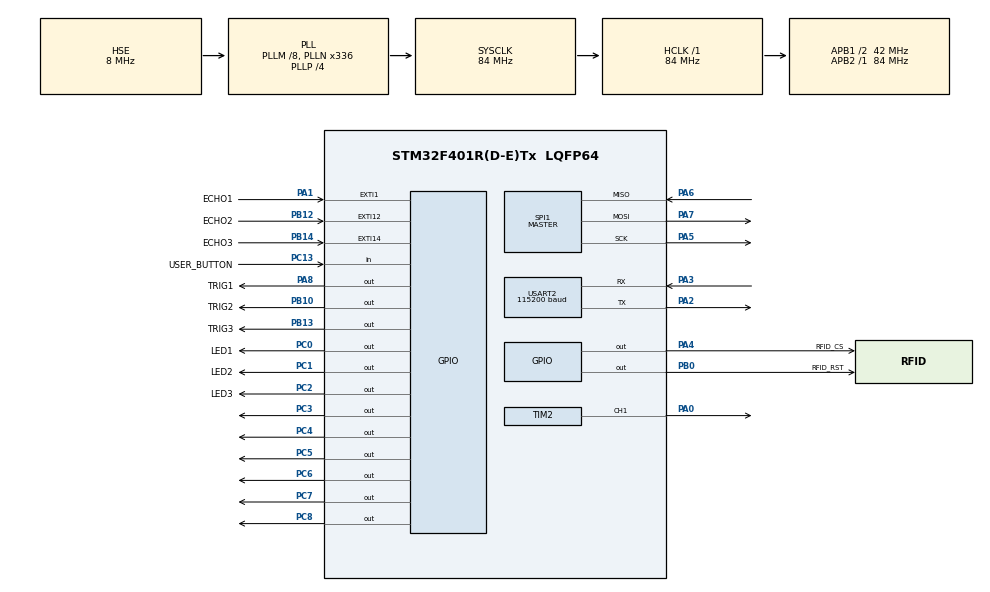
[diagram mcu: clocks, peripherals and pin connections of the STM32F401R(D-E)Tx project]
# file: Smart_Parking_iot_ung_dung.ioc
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Mcu.Family=STM32F4
Mcu.Name=STM32F401R(D-E)Tx
Mcu.Package=LQFP64
NVIC.EXTI15_10_IRQn=true\:0\:0\:false\:false\:true\:true\:true\:true
NVIC.EXTI1_IRQn=true\:0\:0\:false\:false\:true\:true\:true\:true
NVIC.PriorityGroup=NVIC_PRIORITYGROUP_4
NVIC.USART2_IRQn=true\:2\:0\:false\:false\:true\:true\:true\:true
PA0-WKUP.Signal=S_TIM2_CH1_ETR
PA1.GPIO_Label=ECHO1
PA1.GPIO_ModeDefaultEXTI=GPIO_MODE_IT_RISING_FALLING
PA1.Signal=GPXTI1
PA13.Mode=Serial_Wire
PA13.Signal=SYS_JTMS-SWDIO
PA14.Mode=Serial_Wire
PA14.Signal=SYS_JTCK-SWCLK
PA2.GPIO_PuPd=GPIO_PULLUP
PA2.Mode=Asynchronous
PA2.Signal=USART2_TX
PA3.GPIO_PuPd=GPIO_PULLUP
PA3.Mode=Asynchronous
PA3.Signal=USART2_RX
PA4.GPIO_Label=RFID_CS
PA4.PinState=GPIO_PIN_SET
PA4.Signal=GPIO_Output
PA5.Mode=Full_Duplex_Master
PA5.Signal=SPI1_SCK
PA6.Mode=Full_Duplex_Master
PA6.Signal=SPI1_MISO
PA7.Mode=Full_Duplex_Master
PA7.Signal=SPI1_MOSI
PA8.GPIO_Label=TRIG1
PA8.Signal=GPIO_Output
PB0.GPIO_Label=RFID_RST
PB0.PinState=GPIO_PIN_SET
PB0.Signal=GPIO_Output
PB10.GPIO_Label=TRIG2
PB10.Signal=GPIO_Output
PB12.GPIO_Label=ECHO2
PB12.GPIO_ModeDefaultEXTI=GPIO_MODE_IT_RISING_FALLING
PB12.Signal=GPXTI12
PB13.GPIO_Label=TRIG3
PB13.Signal=GPIO_Output
PB14.GPIO_Label=ECHO3
PB14.GPIO_ModeDefaultEXTI=GPIO_MODE_IT_RISING_FALLING
PB14.Signal=GPXTI14
PC0.GPIO_Label=LED1
PC0.Signal=GPIO_Output
PC1.GPIO_Label=LED2
PC1.Signal=GPIO_Output
PC13-ANTI_TAMP.GPIO_Label=USER_BUTTON
PC13-ANTI_TAMP.GPIO_PuPd=GPIO_PULLUP
PC13-ANTI_TAMP.Signal=GPIO_Input
PC2.GPIO_Label=LED3
PC2.Signal=GPIO_Output
PC3.PinState=GPIO_PIN_RESET
PC3.Signal=GPIO_Output
PC4.PinState=GPIO_PIN_RESET
PC4.Signal=GPIO_Output
PC5.PinState=GPIO_PIN_RESET
PC5.Signal=GPIO_Output
PC6.Signal=GPIO_Output
PC7.Signal=GPIO_Output
PC8.Signal=GPIO_Output
PH0\ -\ OSC_IN.Mode=HSE-External-Clock-Source
PH0\ -\ OSC_IN.Signal=RCC_OSC_IN
PH1\ -\ OSC_OUT.Mode=HSE-External-Clock-Source
PH1\ -\ OSC_OUT.Signal=RCC_OSC_OUT
ProjectManager.HeapSize=0x200
ProjectManager.StackSize=0x400
ProjectManager.TargetToolchain=STM32CubeIDE
RCC.48MHZClocksFreq_Value=84000000
RCC.AHBFreq_Value=84000000
RCC.APB1CLKDivider=RCC_HCLK_DIV2
RCC.APB1Freq_Value=42000000
RCC.APB1TimFreq_Value=84000000
RCC.APB2Freq_Value=84000000
RCC.APB2TimFreq_Value=84000000
RCC.CortexFreq_Value=84000000
RCC.HCLKFreq_Value=84000000
RCC.HSE_VALUE=8000000
RCC.HSI_VALUE=16000000
RCC.LSE_VALUE=32768
RCC.PLLM=8
RCC.PLLN=336
RCC.PLLP=RCC_PLLP_DIV4
RCC.PLLSourceVirtual=RCC_PLLSOURCE_HSE
RCC.SYSCLKFreq_VALUE=84000000
RCC.SYSCLKSource=RCC_SYSCLKSOURCE_PLLCLK
RCC.VCOOutputFreq_Value=336000000
SH.S_TIM2_CH1_ETR.0=TIM2_CH1,PWM Generation1 CH1
SPI1.BaudRatePrescaler=SPI_BAUDRATEPRESCALER_32
SPI1.Direction=SPI_DIRECTION_2LINES
SPI1.Mode=SPI_MODE_MASTER
SPI1.VirtualType=VM_MASTER
TIM2.Channel-PWM\ Generation1\ CH1=TIM_CHANNEL_1
TIM2.Period=19999
TIM2.Prescaler=83
TIM2.Pulse-PWM\ Generation1\ CH1=1500
TIM5.Period=4294967295
TIM5.Prescaler=83
USART2.BaudRate=115200
USART2.VirtualMode=VM_ASYNC
VP_TIM2_VS_ClockSourceINT.Mode=Internal
VP_TIM5_VS_ClockSourceINT.Mode=Internal
board=custom

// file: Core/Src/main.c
/* USER CODE BEGIN Header */
/**
  ******************************************************************************
  * @file           : main.c
  * @brief          : Main program body
  ******************************************************************************
  */
/* USER CODE END Header */
#include "main.h"

/* USER CODE BEGIN Includes */
#include "tm_stm32f4_mfrc522.h"
#include <ctype.h>
#include <stdarg.h>
#include <stdio.h>
#include <stdlib.h>
#include <string.h>
/* USER CODE END Includes */

SPI_HandleTypeDef hspi1;

TIM_HandleTypeDef htim2;
TIM_HandleTypeDef htim5;

UART_HandleTypeDef huart2;

void SystemClock_Config(void);
static void MX_GPIO_Init(void);
static void MX_SPI1_Init(void);
static void MX_TIM5_Init(void);
static void MX_TIM2_Init(void);
static void MX_USART2_UART_Init(void);

/* USER CODE BEGIN 0 */
/* Wiring: see main.h. LED1..3 turn on when their slot is occupied.
 * HC-SR04: sequential 65 ms triggers, 30 ms Echo timeout, TIM5 at 1 MHz.
 * Servo: independent TIM2 CH1, 50 Hz, 500 us closed / 1500 us open.
 * Three single LEDs indicate parking-slot occupancy.
 * Console: Hercules, ST-LINK COM, 115200 8N1, add <10 HEX> followed by CR/LF.
 * Added cards live in RAM only. PA9/PA10 remain available for future Wi-Fi.
 */
/* RC522 implementation is kept here because this project has no RC522 .c file.
 * Register definitions and original library attribution are in tm_stm32f4_mfrc522.h.
 * TM_MFRC522_Check() returns the 5-byte card ID (4 UID bytes + BCC) like the TM library.
 */
static uint8_t rfid_io_error;
static uint8_t rfid_ready;

static void RC522_Write(uint8_t address, uint8_t value)
{
    uint8_t tx[2] = {(uint8_t)((address << 1U) & 0x7EU), value};
    uint8_t rx[2];
    if (rfid_io_error) return;
    MFRC522_CS_LOW;
    if (HAL_SPI_TransmitReceive(&hspi1, tx, rx, 2U, 5U) != HAL_OK) rfid_io_error = 1U;
    MFRC522_CS_HIGH;
}

static uint8_t RC522_Read(uint8_t address)
{
    uint8_t tx[2] = {(uint8_t)(((address << 1U) & 0x7EU) | 0x80U), 0U};
    uint8_t rx[2] = {0};
    if (rfid_io_error) return 0U;
    MFRC522_CS_LOW;
    if (HAL_SPI_TransmitReceive(&hspi1, tx, rx, 2U, 5U) != HAL_OK) rfid_io_error = 1U;
    MFRC522_CS_HIGH;
    return rx[1];
}

static void RC522_Mask(uint8_t address, uint8_t mask, uint8_t set)
{
    uint8_t value = RC522_Read(address);
    RC522_Write(address, set ? (uint8_t)(value | mask) : (uint8_t)(value & ~mask));
}

static uint8_t RC522_CRC(const uint8_t *data, uint8_t length, uint8_t crc[2])
{
    RC522_Write(MFRC522_REG_COMMAND, PCD_IDLE);
    RC522_Write(MFRC522_REG_DIV_IRQ, 0x04U);
    RC522_Write(MFRC522_REG_FIFO_LEVEL, 0x80U);
    for (uint8_t i = 0; i < length; ++i) RC522_Write(MFRC522_REG_FIFO_DATA, data[i]);
    RC522_Write(MFRC522_REG_COMMAND, PCD_CALCCRC);
    uint32_t started = HAL_GetTick();
    while (!(RC522_Read(MFRC522_REG_DIV_IRQ) & 0x04U)) {
        if (rfid_io_error || (uint32_t)(HAL_GetTick() - started) >= 5U) {
            RC522_Write(MFRC522_REG_COMMAND, PCD_IDLE);
            return 0U;
        }
    }
    RC522_Write(MFRC522_REG_COMMAND, PCD_IDLE);
    crc[0] = RC522_Read(MFRC522_REG_CRC_RESULT_L);
    crc[1] = RC522_Read(MFRC522_REG_CRC_RESULT_M);
    return !rfid_io_error;
}

static TM_MFRC522_Status_t RC522_Exchange(const uint8_t *tx, uint8_t tx_length,
                                        uint8_t tx_bits, uint8_t *rx,
                                        uint8_t capacity, uint16_t *rx_bits)
{
    *rx_bits = 0U;
    RC522_Write(MFRC522_REG_COMMAND, PCD_IDLE);
    RC522_Write(MFRC522_REG_COMM_IRQ, 0x7FU);
    RC522_Write(MFRC522_REG_FIFO_LEVEL, 0x80U);
    RC522_Write(MFRC522_REG_BIT_FRAMING, tx_bits);
    for (uint8_t i = 0; i < tx_length; ++i) RC522_Write(MFRC522_REG_FIFO_DATA, tx[i]);
    RC522_Write(MFRC522_REG_COMMAND, PCD_TRANSCEIVE);
    RC522_Mask(MFRC522_REG_BIT_FRAMING, 0x80U, 1U);
    uint8_t irq;
    uint32_t started = HAL_GetTick();
    do {
        irq = RC522_Read(MFRC522_REG_COMM_IRQ);
        if (rfid_io_error || (uint32_t)(HAL_GetTick() - started) >= 30U) {
            RC522_Write(MFRC522_REG_COMMAND, PCD_IDLE);
            RC522_Mask(MFRC522_REG_BIT_FRAMING, 0x80U, 0U);
            return MI_ERR;
        }
    } while (!(irq & 0x31U));
    RC522_Mask(MFRC522_REG_BIT_FRAMING, 0x80U, 0U);
    RC522_Write(MFRC522_REG_COMMAND, PCD_IDLE);
    if (irq & 0x01U) return MI_NOTAGERR;
    if (RC522_Read(MFRC522_REG_ERROR) & 0x1BU) return MI_ERR;
    uint8_t count = RC522_Read(MFRC522_REG_FIFO_LEVEL);
    uint8_t last_bits = RC522_Read(MFRC522_REG_CONTROL) & 0x07U;
    /* Reject oversized responses before touching the caller's buffer. */
    if (!count || count > capacity) return MI_ERR;
    *rx_bits = last_bits ? (uint16_t)((count - 1U) * 8U + last_bits) : (uint16_t)(count * 8U);
    for (uint8_t i = 0; i < count; ++i) rx[i] = RC522_Read(MFRC522_REG_FIFO_DATA);
    return rfid_io_error ? MI_ERR : MI_OK;
}

uint8_t TM_MFRC522_Init(void)
{
    rfid_io_error = 0U;
    MFRC522_CS_HIGH;
    HAL_GPIO_WritePin(RFID_RST_GPIO_Port, RFID_RST_Pin, GPIO_PIN_RESET);
    HAL_Delay(2U);
    HAL_GPIO_WritePin(RFID_RST_GPIO_Port, RFID_RST_Pin, GPIO_PIN_SET);
    HAL_Delay(50U);
    RC522_Write(MFRC522_REG_COMMAND, PCD_RESETPHASE);
    HAL_Delay(50U);
    uint32_t started = HAL_GetTick();
    while (RC522_Read(MFRC522_REG_COMMAND) & 0x10U) {
        if (rfid_io_error || (uint32_t)(HAL_GetTick() - started) >= 50U) return 0U;
    }
    uint8_t version = RC522_Read(MFRC522_REG_VERSION);
    if (rfid_io_error || version == 0U || version == 0xFFU) return 0U;
    RC522_Write(MFRC522_REG_T_MODE, 0x80U);
    RC522_Write(MFRC522_REG_T_PRESCALER, 0xA9U);
    RC522_Write(MFRC522_REG_T_RELOAD_H, 0x03U);
    RC522_Write(MFRC522_REG_T_RELOAD_L, 0xE8U); /* 25 ms receive timeout. */
    RC522_Write(MFRC522_REG_TX_MODE, 0U);
    RC522_Write(MFRC522_REG_RX_MODE, 0U);
    RC522_Write(MFRC522_REG_RF_CFG, 0x70U);
    RC522_Write(MFRC522_REG_TX_AUTO, 0x40U);
    RC522_Write(MFRC522_REG_MODE, 0x3DU);
    RC522_Mask(MFRC522_REG_TX_CONTROL, 0x03U, 1U);
    return !rfid_io_error;
}

/* Same flow as the original TM library (lab sheet 3.8):
 * TM_MFRC522_Request(PICC_REQIDL) -> TM_MFRC522_Anticoll() -> TM_MFRC522_Halt().
 * On MI_OK, uid[0..4] holds the 5-byte card ID (4 UID bytes + BCC).
 */
TM_MFRC522_Status_t TM_MFRC522_Check(uint8_t *uid)
{
    uint8_t request = PICC_REQIDL;
    uint8_t response[5] = {0};
    uint16_t bits;
    rfid_io_error = 0U;
    /* Request: card must answer with a 16-bit ATQA. */
    TM_MFRC522_Status_t status = RC522_Exchange(&request, 1U, 7U, response, 2U, &bits);
    if (status == MI_OK && bits != 16U) status = MI_ERR;
    uint8_t card_answered = (status == MI_OK);
    /* Anticoll: read 4 UID bytes + BCC and verify the XOR checksum. */
    if (status == MI_OK) {
        uint8_t anticoll[2] = {PICC_ANTICOLL, 0x20U};
        RC522_Mask(MFRC522_REG_COLL, 0x80U, 0U);
        status = RC522_Exchange(anticoll, 2U, 0U, response, 5U, &bits);
        if (status == MI_OK && (bits != 40U ||
            (uint8_t)(response[0] ^ response[1] ^ response[2] ^ response[3]) != response[4])) {
            status = MI_ERR;
        }
    }
    /* Halt: sent and its result ignored, like the TM library. Skipped when no card
     * answered the Request, to avoid another 25 ms blocking wait on empty polls. */
    if (card_answered) {
        uint8_t halt[4] = {PICC_HALT, 0U, 0U, 0U};
        uint8_t dummy[2];
        if (RC522_CRC(halt, 2U, &halt[2])) (void)RC522_Exchange(halt, 4U, 0U, dummy, sizeof(dummy), &bits);
    }
    if (status == MI_OK) memcpy(uid, response, 5U);
    return status;
}

/* APP_LOGIC_BEGIN */
#define SENSOR_COUNT           3U
#define OCCUPIED_DISTANCE_CM   5U
#define TRIGGER_INTERVAL_MS    65U
#define ECHO_TIMEOUT_US        30000U
#define SENSOR_STALE_MS        600U
#define SERVO_OPEN_MS          4500U
#define SERVO_TEST_MIN_US      1200U
#define SERVO_TEST_CENTER_US   1500U
#define SERVO_TEST_MAX_US      1800U
#define BUTTON_DEBOUNCE_MS     40U
#define DENIED_WAIT_MS         1500U
#define RFID_POLL_MS           100U /* Same as HAL_Delay(100) in the lab sheet loop. */
#define RFID_REMOVE_MISSES     3U   /* Consecutive misses before a card counts as removed. */
#define MAX_CARDS              10U
#define CARD_BYTES             5U
#define RX_BUF_SIZE            60U

typedef struct {
    GPIO_TypeDef *trig_port;
    uint16_t trig_pin;
    GPIO_TypeDef *echo_port;
    uint16_t echo_pin;
    GPIO_TypeDef *led_port;
    uint16_t led_pin;
} SensorPins;

typedef enum { ECHO_IDLE, ECHO_WAIT_RISE, ECHO_WAIT_FALL, ECHO_DONE } EchoState;
typedef struct {
    volatile EchoState state;
    volatile uint32_t triggered_us;
    volatile uint32_t rising_us;
    volatile uint32_t width_us;
    uint32_t updated_ms;
    uint16_t distance_cm;
    uint8_t valid;
    uint8_t occupied;
} Sensor;

typedef enum { DOOR_IDLE, DOOR_CHECK, DOOR_OPEN, DOOR_DENIED } DoorState;
typedef enum { ACCESS_ALLOWED, ACCESS_FULL, ACCESS_INVALID, ACCESS_UNKNOWN } Access;

static const SensorPins sensor_pins[SENSOR_COUNT] = {
    {TRIG1_GPIO_Port, TRIG1_Pin, ECHO1_GPIO_Port, ECHO1_Pin, LED1_GPIO_Port, LED1_Pin},
    {TRIG2_GPIO_Port, TRIG2_Pin, ECHO2_GPIO_Port, ECHO2_Pin, LED2_GPIO_Port, LED2_Pin},
    {TRIG3_GPIO_Port, TRIG3_Pin, ECHO3_GPIO_Port, ECHO3_Pin, LED3_GPIO_Port, LED3_Pin}
};
static const uint8_t default_cards[4][CARD_BYTES] = {
    {0x56, 0x62, 0x2E, 0x02, 0x18},
    {0xF0, 0x94, 0xD8, 0x5C, 0xE0},
    {0x40, 0x27, 0xC4, 0x41, 0xE2},
    {0xA4, 0x73, 0xC4, 0x41, 0x52}
};
static uint8_t allowed_cards[MAX_CARDS][CARD_BYTES];
static uint8_t card_count;
static uint8_t card_present, card_misses, last_card_id[CARD_BYTES];
static Sensor sensors[SENSOR_COUNT]; /* Inspect sensors[] in the debugger. */
static uint8_t next_sensor;
static uint32_t last_trigger_ms, last_rfid_ms, last_log_ms, door_started_ms;
static DoorState door_state;
static Access pending_access;
static char rx_buffer[RX_BUF_SIZE];
static volatile uint16_t rx_index;
static volatile uint8_t command_ready, rx_overflow, command_overflow;
static GPIO_PinState button_raw, button_stable;
static uint32_t button_changed_ms;
static uint8_t button_armed, servo_test_next;
static uint16_t servo_test_pulse_us; /* Current requested pulse, visible in debugger. */

static uint32_t Micros(void)
{
    return __HAL_TIM_GET_COUNTER(&htim5);
}

static void DelayUs(uint32_t us)
{
    uint32_t start = Micros();
    /* Unsigned subtraction handles TIM5's 32-bit wrap. Never reset TIM2/TIM5. */
    while ((uint32_t)(Micros() - start) < us) { }
}

/* USART2 uses the CMSIS registers already present in this project.
 * This keeps the ST-LINK console without adding HAL UART .c/.h files.
 * PA2 TX / PA3 RX, 115200 baud, 8 data bits, no parity, 1 stop bit.
 */
static void Console_Init(void)
{
    GPIO_InitTypeDef gpio = {0};
    __HAL_RCC_GPIOA_CLK_ENABLE();
    __HAL_RCC_USART2_CLK_ENABLE();
    __HAL_RCC_USART2_FORCE_RESET();
    __HAL_RCC_USART2_RELEASE_RESET();
    gpio.Pin = GPIO_PIN_2 | GPIO_PIN_3;
    gpio.Mode = GPIO_MODE_AF_PP;
    gpio.Pull = GPIO_PULLUP;
    gpio.Speed = GPIO_SPEED_FREQ_VERY_HIGH;
    gpio.Alternate = GPIO_AF7_USART2;
    HAL_GPIO_Init(GPIOA, &gpio);
    USART2->CR1 = 0U;
    USART2->CR2 = 0U;
    USART2->CR3 = 0U;
    USART2->BRR = (HAL_RCC_GetPCLK1Freq() + 57600U) / 115200U;
    USART2->CR1 = USART_CR1_UE | USART_CR1_TE | USART_CR1_RE | USART_CR1_RXNEIE;
    HAL_NVIC_SetPriority(USART2_IRQn, 2U, 0U);
    HAL_NVIC_EnableIRQ(USART2_IRQn);
}

static void Console_Send(const char *data, uint16_t length)
{
    uint32_t start = HAL_GetTick();
    for (uint16_t i = 0; i < length; ++i) {
        while (!(USART2->SR & USART_SR_TXE)) {
            if ((uint32_t)(HAL_GetTick() - start) >= 30U) return;
        }
        USART2->DR = (uint8_t)data[i];
    }
}

void Console_IRQHandler(void)
{
    uint32_t status = USART2->SR;
    if (!(status & (USART_SR_RXNE | USART_SR_ORE | USART_SR_FE | USART_SR_NE | USART_SR_PE))) return;
    /* Reading SR then DR clears the received byte and receive error flags. */
    uint8_t byte = (uint8_t)USART2->DR;
    if (status & (USART_SR_ORE | USART_SR_FE | USART_SR_NE | USART_SR_PE)) {
        if (!command_ready) rx_overflow = 1U;
        return;
    }
    if (command_ready) return; /* One command at a time: wait for its reply. */
    if (byte == '\r' || byte == '\n') {
        if (rx_index || rx_overflow) {
            rx_buffer[rx_index] = '\0';
            command_overflow = rx_overflow;
            command_ready = 1U;
        }
    } else if (!rx_overflow) {
        if (rx_index < RX_BUF_SIZE - 1U) rx_buffer[rx_index++] = (char)byte;
        else rx_overflow = 1U;
    }
}

static void Log(const char *format, ...)
{
    char message[192];
    va_list args;
    va_start(args, format);
    int length = vsnprintf(message, sizeof(message), format, args);
    va_end(args);
    if (length > 0) {
        if ((size_t)length >= sizeof(message)) length = sizeof(message) - 1;
        Console_Send(message, (uint16_t)length);
    }
}

static void ServoSet(uint8_t angle)
{
    if (angle > 180U) angle = 180U;
    __HAL_TIM_SET_COMPARE(&htim2, TIM_CHANNEL_1, 500U + (angle * 2000U) / 180U);
}

/* Test with the horn unloaded: SG90 travel limits vary between units. */
static void ServoTestSetPulse(uint16_t pulse_us)
{
    if (pulse_us < SERVO_TEST_MIN_US) pulse_us = SERVO_TEST_MIN_US;
    if (pulse_us > SERVO_TEST_MAX_US) pulse_us = SERVO_TEST_MAX_US;
    servo_test_pulse_us = pulse_us;
    __HAL_TIM_SET_COMPARE(&htim2, TIM_CHANNEL_1, pulse_us);
    Log("SERVO TEST: pulse=%u us, PWM=50 Hz\r\n", (unsigned)pulse_us);
}

static void ServoTestInit(void)
{
    /* NUCLEO-F401RE B1 is active low; a button held at boot must be released. */
    button_raw = HAL_GPIO_ReadPin(USER_BUTTON_GPIO_Port, USER_BUTTON_Pin);
    button_stable = button_raw;
    button_changed_ms = HAL_GetTick();
    button_armed = (button_stable == GPIO_PIN_SET);
    servo_test_next = 0U;
    ServoTestSetPulse(SERVO_TEST_CENTER_US);
    Log("SERVO TEST: bam/tha B1 (USER xanh, PC13): 1200 -> 1500 -> 1800 us.\r\n"
        "RFID chi doc UID trong che do test.\r\n");
}

static void ServoButtonProcess(uint32_t now)
{
    static const uint16_t pulses[] = {
        SERVO_TEST_MIN_US, SERVO_TEST_CENTER_US, SERVO_TEST_MAX_US
    };
    GPIO_PinState raw = HAL_GPIO_ReadPin(USER_BUTTON_GPIO_Port, USER_BUTTON_Pin);
    if (raw != button_raw) {
        button_raw = raw;
        button_changed_ms = now;
    }
    if (raw == button_stable || (uint32_t)(now - button_changed_ms) < BUTTON_DEBOUNCE_MS) return;
    button_stable = raw;
    if (button_stable == GPIO_PIN_SET) {
        button_armed = 1U;
    } else if (button_armed) {
        button_armed = 0U;
        ServoTestSetPulse(pulses[servo_test_next]);
        servo_test_next = (uint8_t)((servo_test_next + 1U) % (sizeof(pulses) / sizeof(pulses[0])));
    }
}

void HAL_GPIO_EXTI_Callback(uint16_t pin)
{
    for (uint8_t i = 0; i < SENSOR_COUNT; ++i) {
        Sensor *sensor = &sensors[i];
        if (pin != sensor_pins[i].echo_pin) continue;
        /* Ignore idle/startup edges before TIM5 has been initialized. */
        if (sensor->state != ECHO_WAIT_RISE && sensor->state != ECHO_WAIT_FALL) return;
        uint32_t now = Micros();
        if ((uint32_t)(now - sensor->triggered_us) >= ECHO_TIMEOUT_US) return;
        GPIO_PinState level = HAL_GPIO_ReadPin(sensor_pins[i].echo_port, pin);
        if (level == GPIO_PIN_SET && sensor->state == ECHO_WAIT_RISE) {
            sensor->rising_us = now;
            sensor->state = ECHO_WAIT_FALL;
        } else if (level == GPIO_PIN_RESET && sensor->state == ECHO_WAIT_FALL) {
            sensor->width_us = (uint32_t)(now - sensor->rising_us);
            sensor->state = ECHO_DONE;
        }
        return;
    }
}

//cấu hình led hiển thị trạng thái của các slot
static void SlotLedUpdate(uint8_t i)
{
    static const uint16_t green_pins[SENSOR_COUNT] = {
        GPIO_PIN_3, GPIO_PIN_4, GPIO_PIN_5
    };

    static const uint16_t yellow_pins[SENSOR_COUNT] = {
        GPIO_PIN_6, GPIO_PIN_7, GPIO_PIN_8
    };

    /* LED1, LED2, LED3 hien tai la den do PC0, PC1, PC2. */
    uint16_t red_pin = sensor_pins[i].led_pin;
    uint16_t on_pin = 0U;

    if (sensors[i].valid) {
        on_pin = sensors[i].occupied
                 ? red_pin
                 : green_pins[i];
    }

    uint16_t all_pins = red_pin
                       | green_pins[i]
                       | yellow_pins[i];

    /* Tat cac mau khong dung truoc khi bat mau moi.
     * Mat tin hieu: tat ca tat. Den vang luon tat.
     */
    HAL_GPIO_WritePin(GPIOC,
                      (uint16_t)(all_pins & ~on_pin),
                      GPIO_PIN_RESET);

    if (on_pin != 0U) {
        HAL_GPIO_WritePin(GPIOC, on_pin, GPIO_PIN_SET);
    }
}

static void SensorsProcess(uint32_t now)
{
    for (uint8_t i = 0; i < SENSOR_COUNT; ++i) {
        Sensor *sensor = &sensors[i];
        uint8_t complete = 0U, timed_out = 0U;
        uint32_t width = 0U;
        uint32_t irq_mask = __get_PRIMASK();
        __disable_irq();
        if (sensor->state == ECHO_DONE) {
            width = sensor->width_us;
            complete = 1U;
            sensor->state = ECHO_IDLE;
        } else if (sensor->state != ECHO_IDLE &&
                   (uint32_t)(Micros() - sensor->triggered_us) >= ECHO_TIMEOUT_US) {
            sensor->state = ECHO_IDLE;
            timed_out = 1U;
        }
        __set_PRIMASK(irq_mask);
        if (complete) {
            /* Bound before multiplication, including malformed/stale edges. */
            uint32_t cm = (width < ECHO_TIMEOUT_US) ? (width * 343U) / 20000U : 0U;
            /* Match the original accepted range (>2 cm, <400 cm). */
            sensor->valid = (cm > 2U && cm < 400U);
            sensor->updated_ms = now;
            if (sensor->valid) {
                sensor->distance_cm = (uint16_t)cm;
                sensor->occupied = (cm <= OCCUPIED_DISTANCE_CM);
            }
        }
        if (timed_out || (uint32_t)(now - sensor->updated_ms) >= SENSOR_STALE_MS) {
            sensor->valid = 0U;
        }
        /* Cap nhat den theo trang thai va do hop le cua cam bien. */
        SlotLedUpdate(i);
    }
    if ((uint32_t)(now - last_trigger_ms) >= TRIGGER_INTERVAL_MS) {
        uint8_t i = next_sensor;
        next_sensor = (next_sensor + 1U) % SENSOR_COUNT;
        last_trigger_ms = now;
        HAL_GPIO_WritePin(sensor_pins[i].trig_port, sensor_pins[i].trig_pin, GPIO_PIN_RESET);
        DelayUs(2U);
        uint32_t irq_mask = __get_PRIMASK();
        __disable_irq();
        __HAL_GPIO_EXTI_CLEAR_IT(sensor_pins[i].echo_pin);
        sensors[i].triggered_us = Micros();
        sensors[i].state = ECHO_WAIT_RISE;
        __set_PRIMASK(irq_mask);
        HAL_GPIO_WritePin(sensor_pins[i].trig_port, sensor_pins[i].trig_pin, GPIO_PIN_SET);
        DelayUs(12U);
        HAL_GPIO_WritePin(sensor_pins[i].trig_port, sensor_pins[i].trig_pin, GPIO_PIN_RESET);
    }
}

static uint8_t CardAllowed(const uint8_t *uid)
{
    for (uint8_t i = 0; i < card_count; ++i) {
        if (memcmp(uid, allowed_cards[i], CARD_BYTES) == 0) return 1U;
    }
    return 0U;
}

static void CommandProcess(void)
{
    if (!command_ready) return;
    char input[RX_BUF_SIZE];
    uint32_t irq_mask = __get_PRIMASK();
    __disable_irq();
    memcpy(input, rx_buffer, sizeof(input));
    uint8_t overflow = command_overflow;
    rx_index = 0U;
    rx_overflow = command_overflow = command_ready = 0U;
    __set_PRIMASK(irq_mask);
    if (overflow) {
        Log("[SYSTEM] ERROR: Lenh qua dai/loi UART. Gui lai ca dong.\r\n");
        return;
    }
    char *command = strtok(input, " \t\r\n");
    if (!command) return;
    for (char *p = command; *p; ++p) *p = (char)tolower((unsigned char)*p);
    char *hex = strtok(NULL, " \t\r\n");
    if (strcmp(command, "add") || !hex || strlen(hex) != CARD_BYTES * 2U ||
        strtok(NULL, " \t\r\n")) {
        Log("[SYSTEM] ERROR: Dung add <10 ky tu HEX>, vi du add A473C44152\r\n");
        return;
    }
    for (uint8_t i = 0; i < CARD_BYTES * 2U; ++i) {
        if (!isxdigit((unsigned char)hex[i])) {
            Log("[SYSTEM] ERROR: Ma the phai du 10 ky tu HEX.\r\n");
            return;
        }
    }
    uint8_t uid[CARD_BYTES];
    for (uint8_t i = 0; i < CARD_BYTES; ++i) {
        char pair[3] = {hex[2U * i], hex[2U * i + 1U], '\0'};
        uid[i] = (uint8_t)strtoul(pair, NULL, 16);
    }
    if (CardAllowed(uid)) Log("[SYSTEM] WARNING: The da ton tai.\r\n");
    else if (card_count >= MAX_CARDS) Log("[SYSTEM] ERROR: Bo nho the da day.\r\n");
    else {
        memcpy(allowed_cards[card_count++], uid, CARD_BYTES);
        Log("[SYSTEM] SUCCESS: Da add the %s (%u/%u), luu trong RAM.\r\n",
            hex, (unsigned)card_count, (unsigned)MAX_CARDS);
    }
}

static void SlotCounts(uint8_t *occupied, uint8_t *free_slots, uint8_t *valid_mask)
{
    *occupied = *free_slots = *valid_mask = 0U;
    for (uint8_t i = 0; i < SENSOR_COUNT; ++i) {
        *occupied += sensors[i].occupied;
        if (sensors[i].valid) {
            *valid_mask |= (uint8_t)(1U << i);
            *free_slots += !sensors[i].occupied;
        }
    }
}

static void DoorProcess(uint32_t now)
{
    switch (door_state) {
    case DOOR_CHECK:
        if (pending_access == ACCESS_ALLOWED) {
            uint8_t occupied, free_slots, valid_mask;
            SlotCounts(&occupied, &free_slots, &valid_mask);
            if (occupied >= SENSOR_COUNT) pending_access = ACCESS_FULL;
            else if (!free_slots) pending_access = ACCESS_UNKNOWN;
        }
        if (pending_access == ACCESS_ALLOWED) {
            ServoSet(90U);
            door_started_ms = now;
            door_state = DOOR_OPEN;
            Log("Ket qua: THE HOP LE. Mo cua 4.5 giay!\r\n");
        } else {
            if (pending_access == ACCESS_FULL) Log("Ket qua: TU CHOI! Bai xe day (%u/%u).\r\n", SENSOR_COUNT, SENSOR_COUNT);
            else if (pending_access == ACCESS_UNKNOWN) Log("Ket qua: TU CHOI! Chua xac nhan duoc cho trong (loi/chua do cam bien).\r\n");
            else Log("Ket qua: THE KHONG HOP LE. Tu choi!\r\n");
            door_started_ms = now;
            door_state = DOOR_DENIED;
        }
        break;
    case DOOR_OPEN:
        if ((uint32_t)(now - door_started_ms) >= SERVO_OPEN_MS) {
            ServoSet(0U);
            door_state = DOOR_IDLE;
            Log("Da dong cua.\r\n");
        }
        break;
    case DOOR_DENIED:
        if ((uint32_t)(now - door_started_ms) >= DENIED_WAIT_MS) door_state = DOOR_IDLE;
        break;
    case DOOR_IDLE:
        break; /* Cards are read in RfidProcess(). */
    }
}

/* Same logic as lab sheet 3.8:
 *   HAL_Delay(100);
 *   if (TM_MFRC522_Check(CardID) == MI_OK) -> "Card found" + 5-byte card ID
 *   else                                   -> "----------"
 * The OLED version redraws every 100 ms; on Hercules each line is printed once per
 * change (card tapped / card removed) so the terminal is not flooded.
 */
static void RfidProcess(uint32_t now)
{
    if (!rfid_ready || (uint32_t)(now - last_rfid_ms) < RFID_POLL_MS) return;
    last_rfid_ms = now;
    uint8_t card_id[MFRC522_MAX_LEN] = {0};
    if (TM_MFRC522_Check(card_id) == MI_OK) {
        card_misses = 0U;
        /* Same card still on the reader: already printed, do nothing. */
        if (card_present && memcmp(card_id, last_card_id, CARD_BYTES) == 0) return;
        card_present = 1U;
        memcpy(last_card_id, card_id, CARD_BYTES);
        Log("Card found! UID: %02X%02X%02X%02X%02X\r\n",
            card_id[0], card_id[1], card_id[2], card_id[3], card_id[4]);
        if (SERVO_TEST_MODE) return; /* Only B1 controls the servo during this test. */
        if (door_state != DOOR_IDLE) {
            Log("He thong dang xu ly, rut the ra va quet lai.\r\n");
            return;
        }
        uint8_t occupied, free_slots, valid_mask;
        SlotCounts(&occupied, &free_slots, &valid_mask);
        if (occupied >= SENSOR_COUNT) pending_access = ACCESS_FULL;
        else if (!CardAllowed(card_id)) pending_access = ACCESS_INVALID;
        else if (!free_slots) pending_access = ACCESS_UNKNOWN;
        else pending_access = ACCESS_ALLOWED;
        door_state = DOOR_CHECK;
    } else if (card_present && ++card_misses >= RFID_REMOVE_MISSES) {
        card_present = 0U;
        Log("----------\r\n");
    }
}

static void Parking_Init(void)
{
    memset(sensors, 0, sizeof(sensors));
    memset(allowed_cards, 0, sizeof(allowed_cards));
    memcpy(allowed_cards, default_cards, sizeof(default_cards));
    card_count = 4U;
    rx_index = 0U;
    command_ready = rx_overflow = command_overflow = 0U;
    next_sensor = 0U;
    door_state = DOOR_IDLE;
    card_present = card_misses = 0U;
    Console_Init();
    if (SERVO_TEST_MODE) {
        __HAL_TIM_SET_COMPARE(&htim2, TIM_CHANNEL_1, SERVO_TEST_CENTER_US);
    } else {
        ServoSet(0U);
    }
    if (HAL_TIM_Base_Start(&htim5) != HAL_OK ||
        HAL_TIM_PWM_Start(&htim2, TIM_CHANNEL_1) != HAL_OK) Error_Handler();
    if (SERVO_TEST_MODE) ServoTestInit();
    rfid_ready = TM_MFRC522_Init();
    if (!rfid_ready) Log("ERROR: RC522 khong phan hoi. Kiem tra 3.3V/SPI/RST, sau do reset kit.\r\n");
    uint32_t now = HAL_GetTick();
    last_trigger_ms = now - TRIGGER_INTERVAL_MS;
    last_rfid_ms = last_log_ms = now;
    Log("SMART PARKING 3T - NUCLEO-F401RE, %u slots. Lenh: add <10 HEX>\r\n", SENSOR_COUNT);
}

static void Parking_Process(void)
{
    if (SERVO_TEST_MODE) ServoButtonProcess(HAL_GetTick());
    SensorsProcess(HAL_GetTick());
    CommandProcess();
    if (!SERVO_TEST_MODE) DoorProcess(HAL_GetTick());
    RfidProcess(HAL_GetTick());
    uint32_t now = HAL_GetTick();
    if (door_state == DOOR_IDLE && (uint32_t)(now - last_log_ms) >= 1500U) {
        uint8_t occupied, free_slots, valid_mask;
        SlotCounts(&occupied, &free_slots, &valid_mask);
        last_log_ms = now;
        Log("S1:%ucm S2:%ucm S3:%ucm | Occupied:%u/%u Free:%u Valid:0x%X Cards:%u\r\n",
            sensors[0].distance_cm, sensors[1].distance_cm, sensors[2].distance_cm,
            occupied, SENSOR_COUNT, free_slots, valid_mask, card_count);
    }
}

/* APP_LOGIC_END */
/* USER CODE END 0 */

int main(void)
{

  /* MCU Configuration--------------------------------------------------------*/

  /* Reset of all peripherals, Initializes the Flash interface and the Systick. */
  HAL_Init();

  /* Configure the system clock */
  SystemClock_Config();

  /* Initialize all configured peripherals */
  MX_GPIO_Init();
  MX_SPI1_Init();
  MX_TIM5_Init();
  MX_TIM2_Init();
  MX_USART2_UART_Init();
  /* USER CODE BEGIN 2 */
    Parking_Init();
  /* USER CODE END 2 */

  /* Infinite loop */
    while (1) {

    /* USER CODE BEGIN 3 */
        Parking_Process();
        HAL_Delay(1U);
    }
  /* USER CODE END 3 */
}

void SystemClock_Config(void)
{
  RCC_OscInitTypeDef RCC_OscInitStruct = {0};
  RCC_ClkInitTypeDef RCC_ClkInitStruct = {0};

  /** Configure the main internal regulator output voltage
  */
  __HAL_RCC_PWR_CLK_ENABLE();
  __HAL_PWR_VOLTAGESCALING_CONFIG(PWR_REGULATOR_VOLTAGE_SCALE2);

  /** Initializes the RCC Oscillators according to the specified parameters
  * in the RCC_OscInitTypeDef structure.
  */
  RCC_OscInitStruct.OscillatorType = RCC_OSCILLATORTYPE_HSE;
  RCC_OscInitStruct.HSEState = RCC_HSE_BYPASS;
  RCC_OscInitStruct.PLL.PLLState = RCC_PLL_ON;
  RCC_OscInitStruct.PLL.PLLSource = RCC_PLLSOURCE_HSE;
  RCC_OscInitStruct.PLL.PLLM = 8;
  RCC_OscInitStruct.PLL.PLLN = 336;
  RCC_OscInitStruct.PLL.PLLP = RCC_PLLP_DIV4;
  RCC_OscInitStruct.PLL.PLLQ = 4;
  if (HAL_RCC_OscConfig(&RCC_OscInitStruct) != HAL_OK)
  {
    Error_Handler();
  }

  /** Initializes the CPU, AHB and APB buses clocks
  */
  RCC_ClkInitStruct.ClockType = RCC_CLOCKTYPE_HCLK|RCC_CLOCKTYPE_SYSCLK
                              |RCC_CLOCKTYPE_PCLK1|RCC_CLOCKTYPE_PCLK2;
  RCC_ClkInitStruct.SYSCLKSource = RCC_SYSCLKSOURCE_PLLCLK;
  RCC_ClkInitStruct.AHBCLKDivider = RCC_SYSCLK_DIV1;
  RCC_ClkInitStruct.APB1CLKDivider = RCC_HCLK_DIV2;
  RCC_ClkInitStruct.APB2CLKDivider = RCC_HCLK_DIV1;

  if (HAL_RCC_ClockConfig(&RCC_ClkInitStruct, FLASH_LATENCY_2) != HAL_OK)
  {
    Error_Handler();
  }
}

static void MX_SPI1_Init(void)
{

  /* SPI1 parameter configuration*/
  hspi1.Instance = SPI1;
  hspi1.Init.Mode = SPI_MODE_MASTER;
  hspi1.Init.Direction = SPI_DIRECTION_2LINES;
  hspi1.Init.DataSize = SPI_DATASIZE_8BIT;
  hspi1.Init.CLKPolarity = SPI_POLARITY_LOW;
  hspi1.Init.CLKPhase = SPI_PHASE_1EDGE;
  hspi1.Init.NSS = SPI_NSS_SOFT;
  hspi1.Init.BaudRatePrescaler = SPI_BAUDRATEPRESCALER_32;
  hspi1.Init.FirstBit = SPI_FIRSTBIT_MSB;
  hspi1.Init.TIMode = SPI_TIMODE_DISABLE;
  hspi1.Init.CRCCalculation = SPI_CRCCALCULATION_DISABLE;
  hspi1.Init.CRCPolynomial = 10;
  if (HAL_SPI_Init(&hspi1) != HAL_OK)
  {
    Error_Handler();
  }

}

static void MX_TIM2_Init(void)
{

  TIM_ClockConfigTypeDef sClockSourceConfig = {0};
  TIM_MasterConfigTypeDef sMasterConfig = {0};
  TIM_OC_InitTypeDef sConfigOC = {0};

  htim2.Instance = TIM2;
  htim2.Init.Prescaler = 83;
  htim2.Init.CounterMode = TIM_COUNTERMODE_UP;
  htim2.Init.Period = 19999;
  htim2.Init.ClockDivision = TIM_CLOCKDIVISION_DIV1;
  htim2.Init.AutoReloadPreload = TIM_AUTORELOAD_PRELOAD_DISABLE;
  if (HAL_TIM_Base_Init(&htim2) != HAL_OK)
  {
    Error_Handler();
  }
  sClockSourceConfig.ClockSource = TIM_CLOCKSOURCE_INTERNAL;
  if (HAL_TIM_ConfigClockSource(&htim2, &sClockSourceConfig) != HAL_OK)
  {
    Error_Handler();
  }
  if (HAL_TIM_PWM_Init(&htim2) != HAL_OK)
  {
    Error_Handler();
  }
  sMasterConfig.MasterOutputTrigger = TIM_TRGO_RESET;
  sMasterConfig.MasterSlaveMode = TIM_MASTERSLAVEMODE_DISABLE;
  if (HAL_TIMEx_MasterConfigSynchronization(&htim2, &sMasterConfig) != HAL_OK)
  {
    Error_Handler();
  }
  sConfigOC.OCMode = TIM_OCMODE_PWM1;
  sConfigOC.Pulse = 1500;
  sConfigOC.OCPolarity = TIM_OCPOLARITY_HIGH;
  sConfigOC.OCFastMode = TIM_OCFAST_DISABLE;
  if (HAL_TIM_PWM_ConfigChannel(&htim2, &sConfigOC, TIM_CHANNEL_1) != HAL_OK)
  {
    Error_Handler();
  }
  HAL_TIM_MspPostInit(&htim2);

}

static void MX_TIM5_Init(void)
{

  TIM_ClockConfigTypeDef sClockSourceConfig = {0};
  TIM_MasterConfigTypeDef sMasterConfig = {0};

  htim5.Instance = TIM5;
  htim5.Init.Prescaler = 83;
  htim5.Init.CounterMode = TIM_COUNTERMODE_UP;
  htim5.Init.Period = 4294967295;
  htim5.Init.ClockDivision = TIM_CLOCKDIVISION_DIV1;
  htim5.Init.AutoReloadPreload = TIM_AUTORELOAD_PRELOAD_DISABLE;
  if (HAL_TIM_Base_Init(&htim5) != HAL_OK)
  {
    Error_Handler();
  }
  sClockSourceConfig.ClockSource = TIM_CLOCKSOURCE_INTERNAL;
  if (HAL_TIM_ConfigClockSource(&htim5, &sClockSourceConfig) != HAL_OK)
  {
    Error_Handler();
  }
  sMasterConfig.MasterOutputTrigger = TIM_TRGO_RESET;
  sMasterConfig.MasterSlaveMode = TIM_MASTERSLAVEMODE_DISABLE;
  if (HAL_TIMEx_MasterConfigSynchronization(&htim5, &sMasterConfig) != HAL_OK)
  {
    Error_Handler();
  }

}

static void MX_USART2_UART_Init(void)
{

  huart2.Instance = USART2;
  huart2.Init.BaudRate = 115200;
  huart2.Init.WordLength = UART_WORDLENGTH_8B;
  huart2.Init.StopBits = UART_STOPBITS_1;
  huart2.Init.Parity = UART_PARITY_NONE;
  huart2.Init.Mode = UART_MODE_TX_RX;
  huart2.Init.HwFlowCtl = UART_HWCONTROL_NONE;
  huart2.Init.OverSampling = UART_OVERSAMPLING_16;
  if (HAL_UART_Init(&huart2) != HAL_OK)
  {
    Error_Handler();
  }

}

static void MX_GPIO_Init(void)
{
  GPIO_InitTypeDef GPIO_InitStruct = {0};

  /* GPIO Ports Clock Enable */
  __HAL_RCC_GPIOC_CLK_ENABLE();
  __HAL_RCC_GPIOH_CLK_ENABLE();
  __HAL_RCC_GPIOA_CLK_ENABLE();
  __HAL_RCC_GPIOB_CLK_ENABLE();

  /*Configure GPIO pin Output Level */
  HAL_GPIO_WritePin(GPIOC, LED1_Pin|LED2_Pin|LED3_Pin|GPIO_PIN_3
                          |GPIO_PIN_4|GPIO_PIN_5|GPIO_PIN_6|GPIO_PIN_7
                          |GPIO_PIN_8, GPIO_PIN_RESET);

  /*Configure GPIO pin Output Level */
  HAL_GPIO_WritePin(RFID_CS_GPIO_Port, RFID_CS_Pin, GPIO_PIN_SET);

  /*Configure GPIO pin Output Level */
  HAL_GPIO_WritePin(RFID_RST_GPIO_Port, RFID_RST_Pin, GPIO_PIN_SET);

  /*Configure GPIO pin Output Level */
  HAL_GPIO_WritePin(GPIOB, TRIG2_Pin|TRIG3_Pin, GPIO_PIN_RESET);

  /*Configure GPIO pin Output Level */
  HAL_GPIO_WritePin(TRIG1_GPIO_Port, TRIG1_Pin, GPIO_PIN_RESET);

  /*Configure GPIO pin : USER_BUTTON_Pin */
  GPIO_InitStruct.Pin = USER_BUTTON_Pin;
  GPIO_InitStruct.Mode = GPIO_MODE_INPUT;
  GPIO_InitStruct.Pull = GPIO_PULLUP;
  HAL_GPIO_Init(USER_BUTTON_GPIO_Port, &GPIO_InitStruct);

  /*Configure GPIO pins : LED1_Pin LED2_Pin LED3_Pin PC3
                           PC4 PC5 PC6 PC7
                           PC8 */
  GPIO_InitStruct.Pin = LED1_Pin|LED2_Pin|LED3_Pin|GPIO_PIN_3
                          |GPIO_PIN_4|GPIO_PIN_5|GPIO_PIN_6|GPIO_PIN_7
                          |GPIO_PIN_8;
  GPIO_InitStruct.Mode = GPIO_MODE_OUTPUT_PP;
  GPIO_InitStruct.Pull = GPIO_NOPULL;
  GPIO_InitStruct.Speed = GPIO_SPEED_FREQ_LOW;
  HAL_GPIO_Init(GPIOC, &GPIO_InitStruct);

  /*Configure GPIO pin : ECHO1_Pin */
  GPIO_InitStruct.Pin = ECHO1_Pin;
  GPIO_InitStruct.Mode = GPIO_MODE_IT_RISING_FALLING;
  GPIO_InitStruct.Pull = GPIO_NOPULL;
  HAL_GPIO_Init(ECHO1_GPIO_Port, &GPIO_InitStruct);

  /*Configure GPIO pins : RFID_CS_Pin TRIG1_Pin */
  GPIO_InitStruct.Pin = RFID_CS_Pin|TRIG1_Pin;
  GPIO_InitStruct.Mode = GPIO_MODE_OUTPUT_PP;
  GPIO_InitStruct.Pull = GPIO_NOPULL;
  GPIO_InitStruct.Speed = GPIO_SPEED_FREQ_LOW;
  HAL_GPIO_Init(GPIOA, &GPIO_InitStruct);

  /*Configure GPIO pins : RFID_RST_Pin TRIG2_Pin TRIG3_Pin */
  GPIO_InitStruct.Pin = RFID_RST_Pin|TRIG2_Pin|TRIG3_Pin;
  GPIO_InitStruct.Mode = GPIO_MODE_OUTPUT_PP;
  GPIO_InitStruct.Pull = GPIO_NOPULL;
  GPIO_InitStruct.Speed = GPIO_SPEED_FREQ_LOW;
  HAL_GPIO_Init(GPIOB, &GPIO_InitStruct);

  /*Configure GPIO pins : ECHO2_Pin ECHO3_Pin */
  GPIO_InitStruct.Pin = ECHO2_Pin|ECHO3_Pin;
  GPIO_InitStruct.Mode = GPIO_MODE_IT_RISING_FALLING;
  GPIO_InitStruct.Pull = GPIO_NOPULL;
  HAL_GPIO_Init(GPIOB, &GPIO_InitStruct);

  /* EXTI interrupt init*/
  HAL_NVIC_SetPriority(EXTI1_IRQn, 0, 0);
  HAL_NVIC_EnableIRQ(EXTI1_IRQn);

  HAL_NVIC_SetPriority(EXTI15_10_IRQn, 0, 0);
  HAL_NVIC_EnableIRQ(EXTI15_10_IRQn);

}

void Error_Handler(void)
{
  __disable_irq();
  while (1)
  {
  }
}
